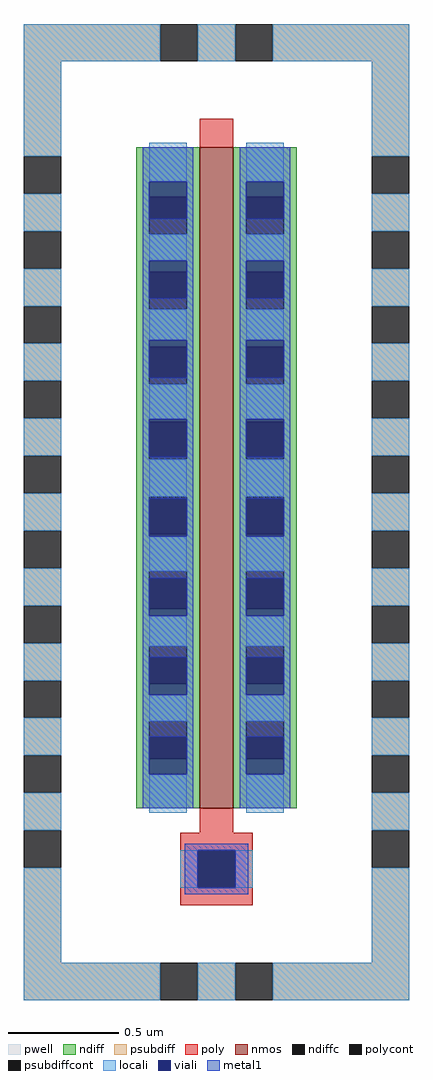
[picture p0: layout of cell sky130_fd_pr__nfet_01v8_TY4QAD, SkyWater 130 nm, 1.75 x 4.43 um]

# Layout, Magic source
magic
tech sky130A
magscale 1 2
<< pwell >>
rect -175 409 175 443
rect -175 -409 -141 409
rect 141 -409 175 409
rect -175 -443 175 -409
<< nmos >>
rect -15 -269 15 331
<< ndiff >>
rect -73 286 -15 331
rect -73 252 -61 286
rect -27 252 -15 286
rect -73 218 -15 252
rect -73 184 -61 218
rect -27 184 -15 218
rect -73 150 -15 184
rect -73 116 -61 150
rect -27 116 -15 150
rect -73 82 -15 116
rect -73 48 -61 82
rect -27 48 -15 82
rect -73 14 -15 48
rect -73 -20 -61 14
rect -27 -20 -15 14
rect -73 -54 -15 -20
rect -73 -88 -61 -54
rect -27 -88 -15 -54
rect -73 -122 -15 -88
rect -73 -156 -61 -122
rect -27 -156 -15 -122
rect -73 -190 -15 -156
rect -73 -224 -61 -190
rect -27 -224 -15 -190
rect -73 -269 -15 -224
rect 15 286 73 331
rect 15 252 27 286
rect 61 252 73 286
rect 15 218 73 252
rect 15 184 27 218
rect 61 184 73 218
rect 15 150 73 184
rect 15 116 27 150
rect 61 116 73 150
rect 15 82 73 116
rect 15 48 27 82
rect 61 48 73 82
rect 15 14 73 48
rect 15 -20 27 14
rect 61 -20 73 14
rect 15 -54 73 -20
rect 15 -88 27 -54
rect 61 -88 73 -54
rect 15 -122 73 -88
rect 15 -156 27 -122
rect 61 -156 73 -122
rect 15 -190 73 -156
rect 15 -224 27 -190
rect 61 -224 73 -190
rect 15 -269 73 -224
<< ndiffc >>
rect -61 252 -27 286
rect -61 184 -27 218
rect -61 116 -27 150
rect -61 48 -27 82
rect -61 -20 -27 14
rect -61 -88 -27 -54
rect -61 -156 -27 -122
rect -61 -224 -27 -190
rect 27 252 61 286
rect 27 184 61 218
rect 27 116 61 150
rect 27 48 61 82
rect 27 -20 61 14
rect 27 -88 61 -54
rect 27 -156 61 -122
rect 27 -224 61 -190
<< psubdiff >>
rect -175 409 -51 443
rect -17 409 17 443
rect 51 409 175 443
rect -175 323 -141 409
rect -175 255 -141 289
rect -175 187 -141 221
rect -175 119 -141 153
rect -175 51 -141 85
rect -175 -17 -141 17
rect -175 -85 -141 -51
rect -175 -153 -141 -119
rect -175 -221 -141 -187
rect -175 -289 -141 -255
rect 141 323 175 409
rect 141 255 175 289
rect 141 187 175 221
rect 141 119 175 153
rect 141 51 175 85
rect 141 -17 175 17
rect 141 -85 175 -51
rect 141 -153 175 -119
rect 141 -221 175 -187
rect 141 -289 175 -255
rect -175 -409 -141 -323
rect 141 -409 175 -323
rect -175 -443 -51 -409
rect -17 -443 17 -409
rect 51 -443 175 -409
<< psubdiffcont >>
rect -51 409 -17 443
rect 17 409 51 443
rect -175 289 -141 323
rect -175 221 -141 255
rect -175 153 -141 187
rect -175 85 -141 119
rect -175 17 -141 51
rect -175 -51 -141 -17
rect -175 -119 -141 -85
rect -175 -187 -141 -153
rect -175 -255 -141 -221
rect 141 289 175 323
rect 141 221 175 255
rect 141 153 175 187
rect 141 85 175 119
rect 141 17 175 51
rect 141 -51 175 -17
rect 141 -119 175 -85
rect 141 -187 175 -153
rect 141 -255 175 -221
rect -175 -323 -141 -289
rect 141 -323 175 -289
rect -51 -443 -17 -409
rect 17 -443 51 -409
<< poly >>
rect -15 331 15 357
rect -15 -291 15 -269
rect -33 -307 33 -291
rect -33 -341 -17 -307
rect 17 -341 33 -307
rect -33 -357 33 -341
<< polycont >>
rect -17 -341 17 -307
<< locali >>
rect -175 409 -51 443
rect -17 409 17 443
rect 51 409 175 443
rect -175 323 -141 409
rect -175 255 -141 289
rect -175 187 -141 221
rect -175 119 -141 153
rect -175 51 -141 85
rect -175 -17 -141 17
rect -175 -85 -141 -51
rect -175 -153 -141 -119
rect -175 -221 -141 -187
rect -175 -289 -141 -255
rect -61 300 -27 335
rect -61 228 -27 252
rect -61 156 -27 184
rect -61 84 -27 116
rect -61 14 -27 48
rect -61 -54 -27 -22
rect -61 -122 -27 -94
rect -61 -190 -27 -166
rect -61 -273 -27 -238
rect 27 300 61 335
rect 27 228 61 252
rect 27 156 61 184
rect 27 84 61 116
rect 27 14 61 48
rect 27 -54 61 -22
rect 27 -122 61 -94
rect 27 -190 61 -166
rect 27 -273 61 -238
rect 141 323 175 409
rect 141 255 175 289
rect 141 187 175 221
rect 141 119 175 153
rect 141 51 175 85
rect 141 -17 175 17
rect 141 -85 175 -51
rect 141 -153 175 -119
rect 141 -221 175 -187
rect 141 -289 175 -255
rect -175 -409 -141 -323
rect -33 -341 -17 -307
rect 17 -341 33 -307
rect 141 -409 175 -323
rect -175 -443 -51 -409
rect -17 -443 17 -409
rect 51 -443 175 -409
<< viali >>
rect -61 286 -27 300
rect -61 266 -27 286
rect -61 218 -27 228
rect -61 194 -27 218
rect -61 150 -27 156
rect -61 122 -27 150
rect -61 82 -27 84
rect -61 50 -27 82
rect -61 -20 -27 12
rect -61 -22 -27 -20
rect -61 -88 -27 -60
rect -61 -94 -27 -88
rect -61 -156 -27 -132
rect -61 -166 -27 -156
rect -61 -224 -27 -204
rect -61 -238 -27 -224
rect 27 286 61 300
rect 27 266 61 286
rect 27 218 61 228
rect 27 194 61 218
rect 27 150 61 156
rect 27 122 61 150
rect 27 82 61 84
rect 27 50 61 82
rect 27 -20 61 12
rect 27 -22 61 -20
rect 27 -88 61 -60
rect 27 -94 61 -88
rect 27 -156 61 -132
rect 27 -166 61 -156
rect 27 -224 61 -204
rect 27 -238 61 -224
rect -17 -341 17 -307
<< metal1 >>
rect -67 300 -21 331
rect -67 266 -61 300
rect -27 266 -21 300
rect -67 228 -21 266
rect -67 194 -61 228
rect -27 194 -21 228
rect -67 156 -21 194
rect -67 122 -61 156
rect -27 122 -21 156
rect -67 84 -21 122
rect -67 50 -61 84
rect -27 50 -21 84
rect -67 12 -21 50
rect -67 -22 -61 12
rect -27 -22 -21 12
rect -67 -60 -21 -22
rect -67 -94 -61 -60
rect -27 -94 -21 -60
rect -67 -132 -21 -94
rect -67 -166 -61 -132
rect -27 -166 -21 -132
rect -67 -204 -21 -166
rect -67 -238 -61 -204
rect -27 -238 -21 -204
rect -67 -269 -21 -238
rect 21 300 67 331
rect 21 266 27 300
rect 61 266 67 300
rect 21 228 67 266
rect 21 194 27 228
rect 61 194 67 228
rect 21 156 67 194
rect 21 122 27 156
rect 61 122 67 156
rect 21 84 67 122
rect 21 50 27 84
rect 61 50 67 84
rect 21 12 67 50
rect 21 -22 27 12
rect 61 -22 67 12
rect 21 -60 67 -22
rect 21 -94 27 -60
rect 61 -94 67 -60
rect 21 -132 67 -94
rect 21 -166 27 -132
rect 61 -166 67 -132
rect 21 -204 67 -166
rect 21 -238 27 -204
rect 61 -238 67 -204
rect 21 -269 67 -238
rect -29 -307 29 -301
rect -29 -341 -17 -307
rect 17 -341 29 -307
rect -29 -347 29 -341
<< properties >>
string FIXED_BBOX -158 -426 158 426
<< end >>
